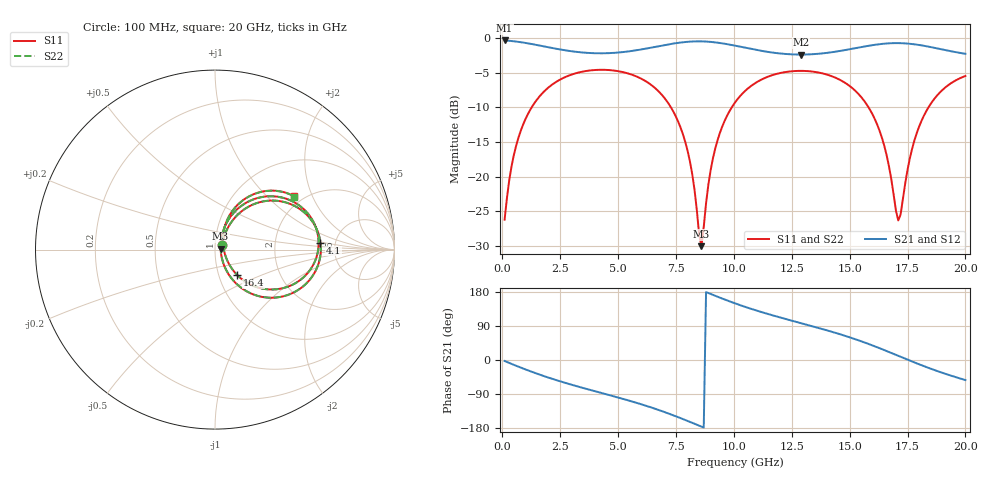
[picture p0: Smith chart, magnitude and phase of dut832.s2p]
! Touchstone file exported from HFSS 2026.1.0
!  File:  C:/ffzhzh/LocalFiles/Ansys_Project_Files/temp_train_TSV_RDL_832_1783266830_38704.aedt
!  Generated:  12:09:23 AM Jul  6, 2026
!  Design:  TSV_RDL
!  Project:  temp_train_TSV_RDL_832_1783266830_38704
! Variables:
!  h_bsmrdl = 2.17um
!  h_ox = 20um
!  h_rdl = 5um
!  h_sub = 78.71um
!  h_tmrdl = 3.55um
!  h_tsv = 78.71um
!  h_via = 3um
!  l_bsmrdl = 984.25um
!  l_sub = 6930.91um
!  l_tmrdl = 861.84um
!  m_sub = 200um
!  pitch = 53.48um
!  r_tsv = 5.7um
!  s_tmrdl = 10um
!  w_bsmrdl = 27um
!  w_sub = 500um
!  w_tmrdl = 16.6um
!  x_tsv_center1 = 870.14um
!  x_tsv_center2 = 1881.39um
!  x_tsv_center3 = 2759.83um
!  x_tsv_center4 = 3771.08um
!  x_tsv_center5 = 4649.52um
!  x_tsv_center6 = 5660.77um
# GHz S MA R 50.000000
! Terminal data exported
! Port[1] = TM_RDL1_1_T1
! Port[2] = TM_RDL5_1_T1
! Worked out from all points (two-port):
!   200 points, 100 MHz to 20 GHz, reference 50 ohm
!   highest |S21| = -0.35 dB at 100 MHz (marker M1); lowest = -2.4 dB at 12.9 GHz (marker M2)
!   |S21| within 3 dB of the highest: start of sweep to end of sweep
!   lowest |S11| = -30.0 dB at 8.6 GHz (marker M3), VSWR 1.07, Z = 53.2 + j0.558 ohm
!   |S11| at or under -10 dB: start of sweep to 1.271 GHz; 7.282 GHz to 9.911 GHz (2.63 GHz wide, 30.6 % of centre); 15.82 GHz to 18.41 GHz (2.59 GHz wide, 15.1 % of centre)
!   |S22| runs from -29.8 to -4.6 dB; largest |S21 - S12| = 1.6e-14
!   S11 on the Smith chart (normalised r, x): 100 MHz: 1.08, +0.06; 4.1 GHz: 3.81, +0.45; 16.4 GHz: 1.23, -0.36; 20 GHz: 1.79, +1.49
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0.1  0.04893 33.6  0.9601 -2.6  0.9601 -2.6  0.04893 33.6
! Gamma 0 0 0 0
! Port Impedance 50 0 50 0
0.5  0.1435 59.5  0.947 -12.8  0.947 -12.8  0.1435 59.5
1.1  0.2813 53.7  0.9157 -27.2  0.9157 -27.2  0.2813 53.7
3.5  0.5735 13.1  0.7852 -74.0  0.7852 -74.0  0.5735 13.1
4.1  0.589 3.8  0.7759 -84.0  0.7759 -84.0  0.589 3.8
5.4  0.5571 -16.8  0.7984 -105.9  0.7984 -105.9  0.5571 -16.8
6.8  0.4042 -41.6  0.8758 -132.9  0.8758 -132.9  0.4042 -41.5
7.9  0.1785 -60.5  0.9357 -158.3  0.9357 -158.3  0.1786 -60.3
8.2  0.1051 -60.5  0.9437 -165.7  0.9437 -165.7  0.1053 -60.2
8.6  0.03151 9.6  0.9457 -175.8  0.9457 -175.8  0.03221 9.5
8.9  0.08768 64.3  0.9405 176.7  0.9405 176.7  0.08798 63.8
9.2  0.1603 66.7  0.93 169.3  0.93 169.3  0.1605 66.5
10.1  0.3516 52.7  0.8774 148.4  0.8774 148.4  0.3517 52.6
12.9  0.5794 6.1  0.7597 97.2  0.7597 97.2  0.5795 6.1
13.4  0.5725 -1.5  0.7641 88.9  0.7641 88.9  0.5725 -1.6
15.3  0.4077 -32.8  0.8477 53.7  0.8477 53.7  0.4078 -32.9
16.4  0.1895 -48.8  0.9067 28.6  0.9067 28.6  0.1896 -48.9
16.7  0.1187 -46.7  0.9154 21.1  0.9154 21.1  0.1188 -46.7
17.1  0.04834 4.9  0.9187 11.1  0.9187 11.1  0.04859 4.9
17.7  0.1592 67.7  0.9049 -4.0  0.9049 -4.0  0.1592 67.5
18.2  0.2735 63.7  0.8794 -16.0  0.8794 -16.0  0.2735 63.5
20  0.5322 33.9  0.7696 -52.9  0.7696 -52.9  0.5322 33.8
